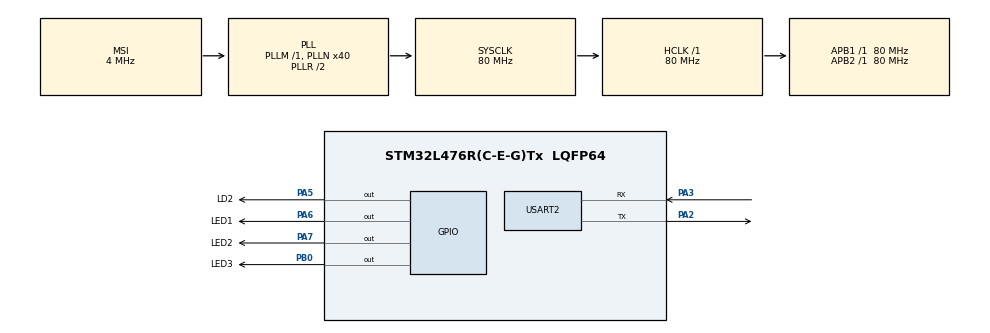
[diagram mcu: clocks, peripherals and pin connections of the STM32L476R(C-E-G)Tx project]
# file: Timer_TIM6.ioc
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Mcu.Family=STM32L4
Mcu.Name=STM32L476R(C-E-G)Tx
Mcu.Package=LQFP64
NVIC.PriorityGroup=NVIC_PRIORITYGROUP_4
NVIC.TIM3_IRQn=true\:10\:0\:true\:false\:true\:true\:true\:true
NVIC.USART2_IRQn=true\:0\:0\:false\:false\:true\:true\:true\:true
PA13\ (JTMS-SWDIO).Mode=Serial_Wire
PA13\ (JTMS-SWDIO).Signal=SYS_JTMS-SWDIO
PA14\ (JTCK-SWCLK).Mode=Serial_Wire
PA14\ (JTCK-SWCLK).Signal=SYS_JTCK-SWCLK
PA2.Mode=Asynchronous
PA2.Signal=USART2_TX
PA3.Mode=Asynchronous
PA3.Signal=USART2_RX
PA5.GPIO_Label=LD2
PA5.Signal=GPIO_Output
PA6.GPIO_Label=LED1
PA6.Signal=GPIO_Output
PA7.GPIO_Label=LED2
PA7.Signal=GPIO_Output
PB0.GPIO_Label=LED3
PB0.Signal=GPIO_Output
ProjectManager.HeapSize=0x200
ProjectManager.StackSize=0x400
ProjectManager.TargetToolchain=STM32CubeIDE
RCC.AHBFreq_Value=80000000
RCC.APB1Freq_Value=80000000
RCC.APB1TimFreq_Value=80000000
RCC.APB2Freq_Value=80000000
RCC.APB2TimFreq_Value=80000000
RCC.CortexFreq_Value=80000000
RCC.HCLKFreq_Value=80000000
RCC.HSE_VALUE=8000000
RCC.HSI_VALUE=16000000
RCC.LSE_VALUE=32768
RCC.MSI_VALUE=4000000
RCC.PLLN=40
RCC.SYSCLKFreq_VALUE=80000000
RCC.SYSCLKSource=RCC_SYSCLKSOURCE_PLLCLK
RCC.VCOOutputFreq_Value=160000000
TIM3.Channel-Output\ Compare1\ No\ Output=TIM_CHANNEL_1
TIM3.Channel-Output\ Compare2\ No\ Output=TIM_CHANNEL_2
TIM3.Channel-Output\ Compare3\ No\ Output=TIM_CHANNEL_3
TIM3.Period=9999
TIM3.Prescaler=7999
TIM3.Pulse-Output\ Compare1\ No\ Output=2500
TIM3.Pulse-Output\ Compare2\ No\ Output=5000
TIM3.Pulse-Output\ Compare3\ No\ Output=7500
USART2.VirtualMode-Asynchronous=VM_ASYNC
VP_TIM3_VS_ClockSourceINT.Mode=Internal
VP_TIM3_VS_no_output1.Mode=Output Compare1 No Output
VP_TIM3_VS_no_output2.Mode=Output Compare2 No Output
VP_TIM3_VS_no_output3.Mode=Output Compare3 No Output
board=custom

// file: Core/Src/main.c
/* USER CODE BEGIN Header */
/**
  ******************************************************************************
  * @file           : main.c
  * @brief          : Main program body
  ******************************************************************************
  * @attention
  *
  * Copyright (c) 2025 STMicroelectronics.
  * All rights reserved.
  *
  * This software is licensed under terms that can be found in the LICENSE file
  * in the root directory of this software component.
  * If no LICENSE file comes with this software, it is provided AS-IS.
  *
  ******************************************************************************
  */
/* USER CODE END Header */
#include "main.h"

TIM_HandleTypeDef htim3;

UART_HandleTypeDef huart2;

void SystemClock_Config(void);
static void MX_GPIO_Init(void);
static void MX_TIM3_Init(void);
static void MX_USART2_UART_Init(void);

/* USER CODE BEGIN 0 */
void HAL_TIM_PeriodElapsedCallback(TIM_HandleTypeDef *htim)
{
	if(htim == &time3)
	{
		HAL_GPIO_TogglePin(LD2_GPIO_Port, LD2_Pin);

		HAL_GPIO_WritePin(LED1_GPIO_Port, LED1_Pin, GPIO_PIN_SET);
		HAL_GPIO_WritePin(LED2_GPIO_Port, LED2_Pin, GPIO_PIN_SET);
		HAL_GPIO_WritePin(LED3_GPIO_Port, LED3_Pin, GPIO_PIN_SET);
	}
}

void HAL_TIM_OC_DelayElapsedCallback(TIM_HandleTypeDef *htim)
{
	if(htim == &htim3)
	{
		switch(HAL_TIM_GetActiveChannel(&htim3))
		{
		case HAL_TIM_ACTIVE_CHANNEL_1:
			HAL_GPIO_WritePin(LED1_GPIO_Port, LED1_Pin, GPIO_PIN_RESET);
			break;
		case HAL_TIM_ACTIVE_CHANNEL_2:
			HAL_GPIO_WritePin(LED2_GPIO_Port, LED2_Pin, GPIO_PIN_RESET);
			break;
		case HAL_TIM_ACTIVE_CHANNEL_3:
			HAL_GPIO_WritePin(LED3_GPIO_Port, LED2_Pin, GPIO_PIN_RESET);
			break;
		default:
			break;
		}
	}
}
/* USER CODE END 0 */

int main(void)
{

  /* MCU Configuration--------------------------------------------------------*/

  /* Reset of all peripherals, Initializes the Flash interface and the Systick. */
  HAL_Init();

  /* Configure the system clock */
  SystemClock_Config();

  /* Initialize all configured peripherals */
  MX_GPIO_Init();
  MX_TIM3_Init();
  MX_USART2_UART_Init();
  /* USER CODE BEGIN 2 */
  HAL_TIM_Base_Start_IT(&htim3);
  HAL_TIM_OC_Start_IT(&htim3, TIM_CHANNEL_1);
  HAL_TIM_OC_Start_IT(&htim3, TIM_CHANNEL_2);
  HAL_TIM_OC_Start_IT(&htim3, TIM_CHANNEL_3);
  /* USER CODE END 2 */

  /* Infinite loop */
  while (1)
  {

  }
}

void SystemClock_Config(void)
{
  RCC_OscInitTypeDef RCC_OscInitStruct = {0};
  RCC_ClkInitTypeDef RCC_ClkInitStruct = {0};

  /** Configure the main internal regulator output voltage
  */
  if (HAL_PWREx_ControlVoltageScaling(PWR_REGULATOR_VOLTAGE_SCALE1) != HAL_OK)
  {
    Error_Handler();
  }

  /** Initializes the RCC Oscillators according to the specified parameters
  * in the RCC_OscInitTypeDef structure.
  */
  RCC_OscInitStruct.OscillatorType = RCC_OSCILLATORTYPE_MSI;
  RCC_OscInitStruct.MSIState = RCC_MSI_ON;
  RCC_OscInitStruct.MSICalibrationValue = 0;
  RCC_OscInitStruct.MSIClockRange = RCC_MSIRANGE_6;
  RCC_OscInitStruct.PLL.PLLState = RCC_PLL_ON;
  RCC_OscInitStruct.PLL.PLLSource = RCC_PLLSOURCE_MSI;
  RCC_OscInitStruct.PLL.PLLM = 1;
  RCC_OscInitStruct.PLL.PLLN = 40;
  RCC_OscInitStruct.PLL.PLLP = RCC_PLLP_DIV7;
  RCC_OscInitStruct.PLL.PLLQ = RCC_PLLQ_DIV2;
  RCC_OscInitStruct.PLL.PLLR = RCC_PLLR_DIV2;
  if (HAL_RCC_OscConfig(&RCC_OscInitStruct) != HAL_OK)
  {
    Error_Handler();
  }

  /** Initializes the CPU, AHB and APB buses clocks
  */
  RCC_ClkInitStruct.ClockType = RCC_CLOCKTYPE_HCLK|RCC_CLOCKTYPE_SYSCLK
                              |RCC_CLOCKTYPE_PCLK1|RCC_CLOCKTYPE_PCLK2;
  RCC_ClkInitStruct.SYSCLKSource = RCC_SYSCLKSOURCE_PLLCLK;
  RCC_ClkInitStruct.AHBCLKDivider = RCC_SYSCLK_DIV1;
  RCC_ClkInitStruct.APB1CLKDivider = RCC_HCLK_DIV1;
  RCC_ClkInitStruct.APB2CLKDivider = RCC_HCLK_DIV1;

  if (HAL_RCC_ClockConfig(&RCC_ClkInitStruct, FLASH_LATENCY_4) != HAL_OK)
  {
    Error_Handler();
  }
}

static void MX_TIM3_Init(void)
{

  TIM_ClockConfigTypeDef sClockSourceConfig = {0};
  TIM_MasterConfigTypeDef sMasterConfig = {0};
  TIM_OC_InitTypeDef sConfigOC = {0};

  htim3.Instance = TIM3;
  htim3.Init.Prescaler = 7999;
  htim3.Init.CounterMode = TIM_COUNTERMODE_UP;
  htim3.Init.Period = 9999;
  htim3.Init.ClockDivision = TIM_CLOCKDIVISION_DIV1;
  htim3.Init.AutoReloadPreload = TIM_AUTORELOAD_PRELOAD_DISABLE;
  if (HAL_TIM_Base_Init(&htim3) != HAL_OK)
  {
    Error_Handler();
  }
  sClockSourceConfig.ClockSource = TIM_CLOCKSOURCE_INTERNAL;
  if (HAL_TIM_ConfigClockSource(&htim3, &sClockSourceConfig) != HAL_OK)
  {
    Error_Handler();
  }
  if (HAL_TIM_OC_Init(&htim3) != HAL_OK)
  {
    Error_Handler();
  }
  sMasterConfig.MasterOutputTrigger = TIM_TRGO_RESET;
  sMasterConfig.MasterSlaveMode = TIM_MASTERSLAVEMODE_DISABLE;
  if (HAL_TIMEx_MasterConfigSynchronization(&htim3, &sMasterConfig) != HAL_OK)
  {
    Error_Handler();
  }
  sConfigOC.OCMode = TIM_OCMODE_TIMING;
  sConfigOC.Pulse = 2500;
  sConfigOC.OCPolarity = TIM_OCPOLARITY_HIGH;
  sConfigOC.OCFastMode = TIM_OCFAST_DISABLE;
  if (HAL_TIM_OC_ConfigChannel(&htim3, &sConfigOC, TIM_CHANNEL_1) != HAL_OK)
  {
    Error_Handler();
  }
  sConfigOC.Pulse = 5000;
  if (HAL_TIM_OC_ConfigChannel(&htim3, &sConfigOC, TIM_CHANNEL_2) != HAL_OK)
  {
    Error_Handler();
  }
  sConfigOC.Pulse = 7500;
  if (HAL_TIM_OC_ConfigChannel(&htim3, &sConfigOC, TIM_CHANNEL_3) != HAL_OK)
  {
    Error_Handler();
  }

}

static void MX_USART2_UART_Init(void)
{

  huart2.Instance = USART2;
  huart2.Init.BaudRate = 115200;
  huart2.Init.WordLength = UART_WORDLENGTH_8B;
  huart2.Init.StopBits = UART_STOPBITS_1;
  huart2.Init.Parity = UART_PARITY_NONE;
  huart2.Init.Mode = UART_MODE_TX_RX;
  huart2.Init.HwFlowCtl = UART_HWCONTROL_NONE;
  huart2.Init.OverSampling = UART_OVERSAMPLING_16;
  huart2.Init.OneBitSampling = UART_ONE_BIT_SAMPLE_DISABLE;
  huart2.AdvancedInit.AdvFeatureInit = UART_ADVFEATURE_NO_INIT;
  if (HAL_UART_Init(&huart2) != HAL_OK)
  {
    Error_Handler();
  }

}

static void MX_GPIO_Init(void)
{
  GPIO_InitTypeDef GPIO_InitStruct = {0};

  /* GPIO Ports Clock Enable */
  __HAL_RCC_GPIOA_CLK_ENABLE();
  __HAL_RCC_GPIOB_CLK_ENABLE();

  /*Configure GPIO pin Output Level */
  HAL_GPIO_WritePin(GPIOA, LD2_Pin|LED1_Pin|LED2_Pin, GPIO_PIN_RESET);

  /*Configure GPIO pin Output Level */
  HAL_GPIO_WritePin(LED3_GPIO_Port, LED3_Pin, GPIO_PIN_RESET);

  /*Configure GPIO pins : LD2_Pin LED1_Pin LED2_Pin */
  GPIO_InitStruct.Pin = LD2_Pin|LED1_Pin|LED2_Pin;
  GPIO_InitStruct.Mode = GPIO_MODE_OUTPUT_PP;
  GPIO_InitStruct.Pull = GPIO_NOPULL;
  GPIO_InitStruct.Speed = GPIO_SPEED_FREQ_LOW;
  HAL_GPIO_Init(GPIOA, &GPIO_InitStruct);

  /*Configure GPIO pin : LED3_Pin */
  GPIO_InitStruct.Pin = LED3_Pin;
  GPIO_InitStruct.Mode = GPIO_MODE_OUTPUT_PP;
  GPIO_InitStruct.Pull = GPIO_NOPULL;
  GPIO_InitStruct.Speed = GPIO_SPEED_FREQ_LOW;
  HAL_GPIO_Init(LED3_GPIO_Port, &GPIO_InitStruct);

}

void Error_Handler(void)
{
  __disable_irq();
  while (1)
  {
  }
}
